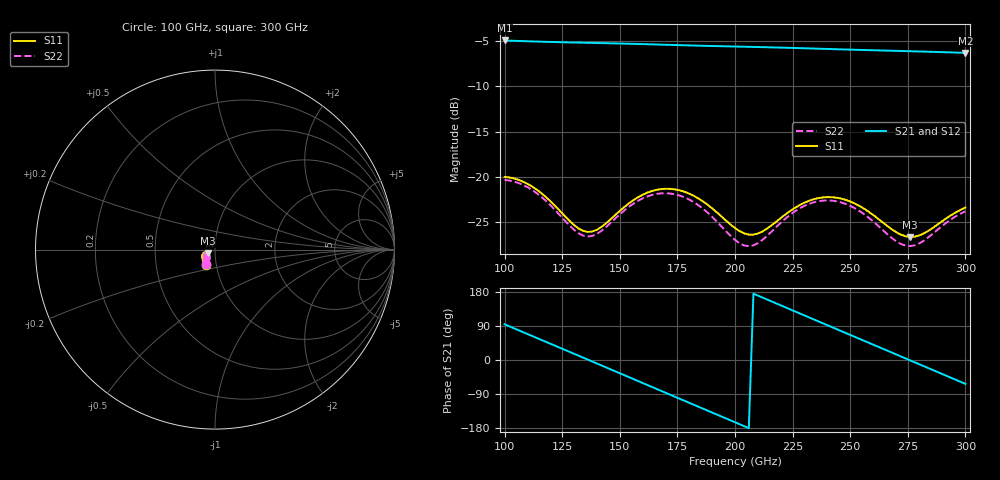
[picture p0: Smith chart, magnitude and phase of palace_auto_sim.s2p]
#  GHZ S DB R 50
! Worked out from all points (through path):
!   101 points, 100 GHz to 300 GHz, reference 50 ohm
!   highest |S21| = -4.95 dB at 100 GHz (marker M1); lowest = -6.3 dB at 300 GHz (marker M2)
!   group delay of S21, straight-line fit = 7.19 ps
!   lowest |S11| = -26.6 dB at 276 GHz (marker M3), VSWR 1.10, Z = 46 - j1.94 ohm
!   |S11| at or under -10 dB: start of sweep to end of sweep
!   |S22| runs from -27.6 to -20.3 dB; largest |S21 - S12| = 6.3e-14
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100  -19.99 -121.3  -4.95 94.1  -4.95 94.1  -20.31 -123.0
108  -20.51 -133.5  -5.02 73.5  -5.02 73.5  -20.87 -135.2
116  -21.79 -143.3  -5.08 52.9  -5.08 52.9  -22.19 -145.0
126  -24.27 -146.9  -5.15 27.1  -5.15 27.1  -24.76 -148.4
134  -25.92 -137.8  -5.19 6.5  -5.19 6.5  -26.45 -138.5
140  -25.82 -127.1  -5.22 -9.0  -5.22 -9.0  -26.28 -127.5
150  -23.73 -120.2  -5.28 -35.0  -5.28 -35.0  -24.11 -121.0
160  -21.94 -127.1  -5.35 -60.9  -5.35 -60.9  -22.34 -128.6
168  -21.33 -136.7  -5.41 -81.6  -5.41 -81.6  -21.80 -138.7
182  -22.05 -153.9  -5.51 -117.8  -5.51 -117.8  -22.75 -156.4
192  -23.87 -160.5  -5.57 -143.6  -5.57 -143.6  -24.88 -162.7
200  -25.62 -157.2  -5.61 -164.3  -5.61 -164.3  -26.93 -157.3
208  -26.34 -145.4  -5.66 175.0  -5.66 175.0  -27.53 -141.8
216  -25.29 -135.8  -5.71 154.3  -5.71 154.3  -25.98 -131.3
226  -23.40 -136.2  -5.78 128.3  -5.78 128.3  -23.78 -133.3
234  -22.46 -142.7  -5.84 107.6  -5.84 107.6  -22.79 -141.1
242  -22.22 -151.2  -5.90 86.9  -5.90 86.9  -22.60 -150.6
250  -22.69 -159.4  -5.96 66.3  -5.96 66.3  -23.17 -159.6
268  -25.75 -163.3  -6.08 19.8  -6.08 19.8  -26.71 -163.0
276  -26.60 -153.3  -6.13 -0.9  -6.13 -0.9  -27.61 -150.6
288  -25.22 -140.7  -6.22 -32.0  -6.22 -32.0  -25.79 -137.0
300  -23.37 -143.9  -6.31 -63.0  -6.31 -63.0  -23.79 -141.8
